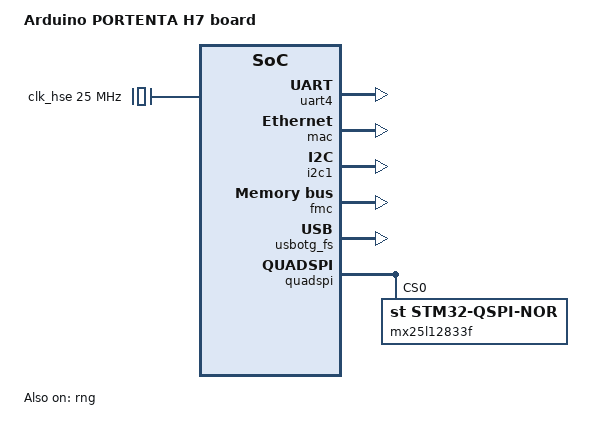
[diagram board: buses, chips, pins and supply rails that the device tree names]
/*
 * SPDX-License-Identifier: Apache-2.0
 */

/dts-v1/;

#include "portenta_h7.dtsi"

/ {
    model = "Arduino PORTENTA H7 board";
    compatible = "arduino,portenta-h7";

    chosen {
        zephyr,console = &uart4;
        zephyr,shell-uart = &uart4;
        zephyr,sram = &sram0;
        zephyr,flash = &flash0;
        zephyr,code-partition = &slot0_partition;
    };

    leds {
        red_led_1:led_1 {
            status = "okay";
        };
        green_led_2:led_2 {
            status = "okay";
        };
        blue_led_3:led_3 {
            status = "okay";
        };
    };
};

&oscen {
    status = "okay";
};

&clk_hse {
    hse-bypass;
    clock-frequency = <DT_FREQ_M(25)>;
    status = "okay";
};

&pll {
    clocks = <&clk_hse>;
    div-m = <5>;
    mul-n = <160>;
    div-p = <2>;
    div-q = <10>;
    div-r = <2>;
    status = "okay";
};

&rcc {
    clocks = <&pll>;
    clock-frequency = <DT_FREQ_M(400)>;
};

&uart4 {
    status = "okay";
};

&mac {
    status = "okay";
};

&rng {
    status = "okay";
};

&i2c1 {
    status = "okay";
};

&fmc {
	status = "okay";
};

&sdram1 {
  status = "okay";
};

&usbotg_hs {
    status = "disabled";
};

&usbotg_fs {
    status = "okay";

    cdc_acm_uart0: cdc_acm_uart0 {
        compatible = "zephyr,cdc-acm-uart";
        label = "CDC_ACM_0";
        status = "okay";
    };
};

&quadspi {
    status = "okay";

    flash-id = <1>;

    mx25l12833f: qspi-nor-flash@0 {
      compatible = "st,stm32-qspi-nor";
      label = "mx25l12833f";
      reg = <0>;
      qspi-max-frequency = <100000000>;
      spi-bus-width = <4>;
      size = <DT_SIZE_M(16*8)>;
      status = "okay";
    };
};
